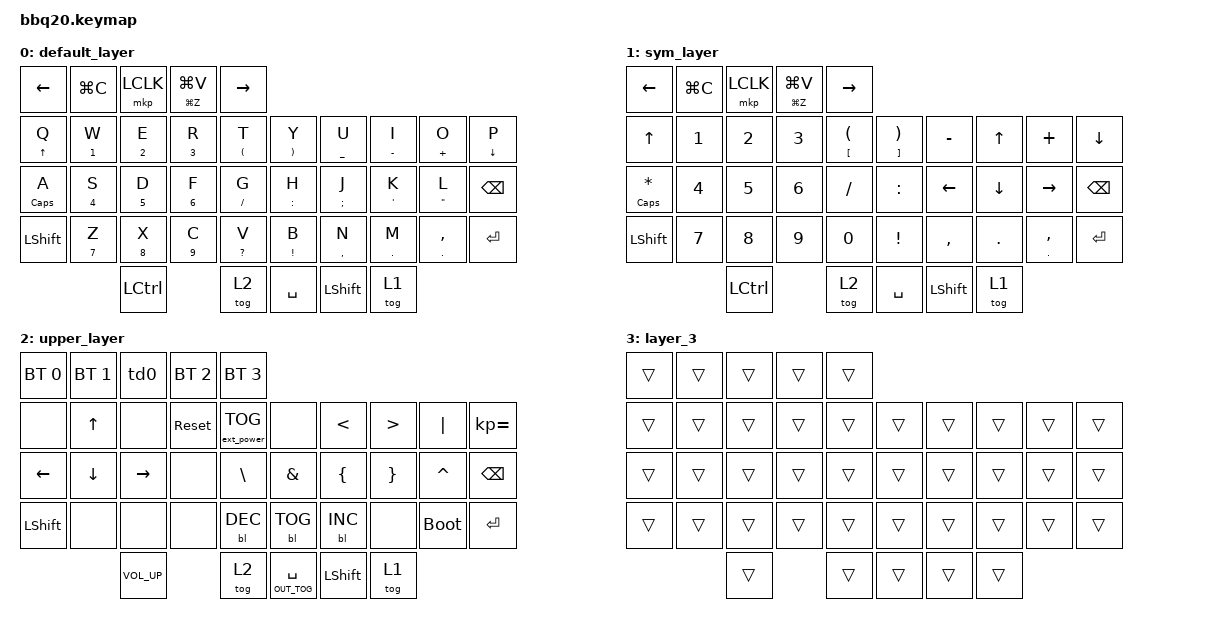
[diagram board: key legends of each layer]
/*
 *Copyright (c) 2025 XixiLee-boom
 *
 * SPDX-License-Identifier: MIT
 */

#include <dt-bindings/zmk/mouse.h>
#include <behaviors.dtsi>
#include <dt-bindings/zmk/backlight.h>
#include <dt-bindings/zmk/bt.h>
#include <dt-bindings/zmk/ext_power.h>
#include <dt-bindings/zmk/keys.h>
#include <dt-bindings/zmk/outputs.h>
#include <dt-bindings/zmk/pointing.h>

#define SYM 1
#define UPPER 2

/ {
    behaviors {
        td0: tap_dance_0 {
            compatible = "zmk,behavior-tap-dance";
            #binding-cells = <0>;
            tapping-term-ms = <400>;
            bindings = <&mkp LCLK>, <&bt BT_CLR>;
        };
    };

    behaviors {
        hm: homerow_mods {
            compatible = "zmk,behavior-hold-tap";
            #binding-cells = <2>;
            tapping-term-ms = <500>;
            bindings = <&out &kp>;
        };
    };

    behaviors {
        bhm: balanced_homerow_mods {
            compatible = "zmk,behavior-hold-tap";
            #binding-cells = <2>;
            flavor = "balanced";
            tapping-term-ms = <400>;
            bindings = <&kp>, <&kp>;
        };
    };

    keymap {
        compatible = "zmk,keymap";

        default_layer {
            bindings = <
&kp LEFT_ARROW   &kp LG(C)  &mkp LCLK  &bhm LG(Z) LG(V)  &kp RIGHT_ARROW
&bhm UP Q        &bhm N1 W  &bhm N2 E  &bhm N3 R         &bhm LPAR T      &bhm RPAR Y     &bhm UNDER U  &bhm MINUS I  &bhm PLUS O     &bhm DOWN P
&bhm CAPSLOCK A  &bhm N4 S  &bhm N5 D  &bhm N6 F         &bhm SLASH G     &bhm COLON H    &bhm SEMI J   &bhm APOS K   &bhm DQT L      &kp BSPC
&kp LSHFT        &bhm N7 Z  &bhm N8 X  &bhm N9 C         &bhm QMARK V     &bhm EXCL B     &bhm COMMA N  &bhm DOT M    &bhm DOT COMMA  &kp ENTER
                            &kp LCTRL                    &tog 2           &kp SPACE       &kp LSHFT     &tog 1
            >;
        };

        sym_layer {
            bindings = <
&kp LEFT_ARROW      &kp LG(C)  &mkp LCLK  &bhm LG(Z) LG(V)  &kp RIGHT_ARROW
&kp UP              &kp N1     &kp N2     &kp N3            &mt LBKT LPAR    &mt RBKT RPAR    &kp MINUS       &kp UP_ARROW    &kp PLUS        &kp DOWN
&bhm CAPSLOCK STAR  &kp N4     &kp N5     &kp N6            &kp SLASH        &kp COLON        &kp LEFT_ARROW  &kp DOWN_ARROW  &kp RIGHT       &kp BSPC
&kp LSHFT           &kp N7     &kp N8     &kp N9            &kp N0           &kp EXCL         &kp COMMA       &kp DOT         &bhm DOT COMMA  &kp ENTER
                               &kp LCTRL                    &tog 2           &kp SPACE        &kp LSHFT       &tog 1
            >;
        };

        upper_layer {
            bindings = <
&bt BT_SEL 0  &bt BT_SEL 1  &td0             &bt BT_SEL 2  &bt BT_SEL 3
&none         &kp UP        &none            &sys_reset    &ext_power EP_TOG  &none                &kp LT      &kp GT    &kp PIPE     &kp KP_EQUAL
&kp LEFT      &kp DOWN      &kp RIGHT        &none         &kp BSLH           &kp AMPS             &kp LBRC    &kp RBRC  &kp CARET    &kp BSPC
&kp LSHFT     &none         &none            &none         &bl BL_DEC         &bl BL_TOG           &bl BL_INC  &none     &bootloader  &kp ENTER
                            &kp K_VOLUME_UP                &tog 2             &hm OUT_TOG SPACE    &kp LSHFT   &tog 1
            >;
        };

        layer_3 {
            bindings = <
&trans  &trans  &trans  &trans  &trans
&trans  &trans  &trans  &trans  &trans  &trans    &trans  &trans  &trans  &trans
&trans  &trans  &trans  &trans  &trans  &trans    &trans  &trans  &trans  &trans
&trans  &trans  &trans  &trans  &trans  &trans    &trans  &trans  &trans  &trans
                &trans          &trans  &trans    &trans  &trans
            >;
        };
    };
};
